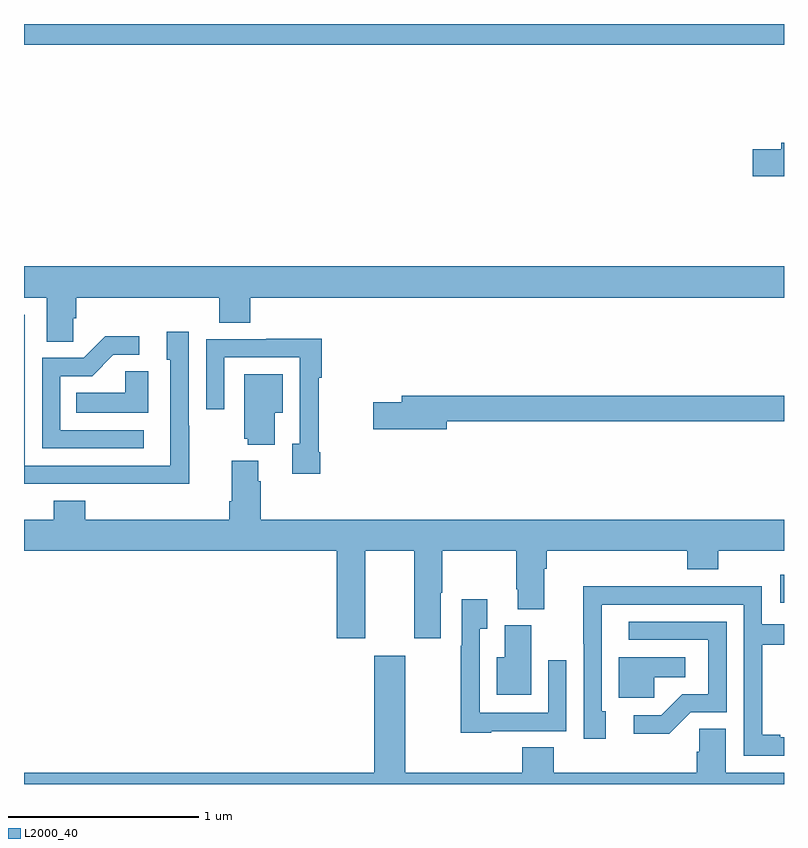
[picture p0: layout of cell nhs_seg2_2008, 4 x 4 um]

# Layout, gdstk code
import gdstk
lib = gdstk.Library(unit=1e-6, precision=1e-09)
def R(c, l, rs):  # rectangles x0, y0, x1, y1
    for r in rs: c.add(gdstk.rectangle(r[:2], r[2:], *l))
def P(c, l, *ps):  # polygons
    for p in ps: c.add(gdstk.Polygon(p, *l))
L2000_40 = (2000, 40)

nhs_seg2_2008 = lib.new_cell('nhs_seg2_2008')
R(nhs_seg2_2008, L2000_40, [(220.98,588.753,221,588.901), (217,591.692,221,591.8)])
P(nhs_seg2_2008, L2000_40, [(221,591.176),(220.985,591.176),(220.985,591.14),(220.836,591.14),(220.836,590.998),(221,590.998)],
  [(217.26,590.251),(217.274,590.251),(217.274,590.36),(218.027,590.36),(218.027,590.227),(218.192,590.227),(218.192,590.36),(221,590.36),(221,590.524),(217,590.524),(217,590.36),(217.121,590.36),(217.121,590.128),(217.26,590.128)],
  [(217.869,589.685),(217.866,589.685),(217.866,590.179),(217.751,590.179),(217.751,590.034),(217.77,590.034),(217.77,589.476),(217.005,589.476),(217.005,590.271),(217,590.271),(217,589.38),(217.405,589.38),(217.405,589.379),(217.869,589.379)],
  [(217.63,589.662),(217.191,589.662),(217.191,589.947),(217.36,589.947),(217.471,590.058),(217.606,590.058),(217.606,590.156),(217.427,590.156),(217.314,590.043),(217.095,590.043),(217.095,589.566),(217.63,589.566)],
  [(218.56,589.546),(218.552,589.546),(218.552,589.939),(218.567,589.939),(218.567,590.144),(218.275,590.144),(218.275,590.142),(217.959,590.142),(217.959,589.773),(218.055,589.773),(218.055,590.046),(218.451,590.046),(218.451,589.59),(218.411,589.59),(218.411,589.434),(218.56,589.434)],
  [(217.654,589.973),(217.533,589.973),(217.533,589.858),(217.276,589.858),(217.276,589.754),(217.654,589.754)],
  [(218.32,589.754),(218.362,589.754),(218.362,589.957),(218.159,589.957),(218.159,589.617),(218.177,589.617),(218.177,589.586),(218.32,589.586)],
  [(219.226,589.708),(221,589.708),(221,589.844),(218.987,589.844),(218.987,589.808),(218.838,589.808),(218.838,589.666),(219.226,589.666)],
  [(218.797,589.028),(219.053,589.028),(219.053,588.567),(219.193,588.567),(219.193,588.806),(219.201,588.806),(219.201,589.028),(219.592,589.028),(219.592,588.826),(219.599,588.826),(219.599,588.721),(219.739,588.721),(219.739,588.932),(219.752,588.932),(219.752,589.028),(220.49,589.028),(220.49,588.929),(220.655,588.929),(220.655,589.028),(221,589.028),(221,589.192),(218.246,589.192),(218.246,589.394),(218.233,589.394),(218.233,589.501),(218.093,589.501),(218.093,589.288),(218.081,589.288),(218.081,589.192),(217.322,589.192),(217.322,589.291),(217.157,589.291),(217.157,589.192),(217,589.192),(217,589.028),(218.645,589.028),(218.645,588.567),(218.797,588.567)],
  [(221,588.045),(220.981,588.045),(220.981,588.06),(220.885,588.06),(220.885,588.534),(221,588.534),(221,588.642),(220.884,588.642),(220.884,588.84),(220.406,588.84),(220.406,588.842),(219.944,588.842),(219.944,588.538),(219.945,588.538),(219.945,588.039),(220.063,588.039),(220.063,588.183),(220.041,588.183),(220.041,588.744),(220.788,588.744),(220.788,587.949),(221,587.949)],
  [(219.459,588.078),(219.855,588.078),(219.855,588.451),(219.759,588.451),(219.759,588.174),(219.399,588.174),(219.399,588.616),(219.439,588.616),(219.439,588.772),(219.303,588.772),(219.303,588.527),(219.298,588.527),(219.298,588.071),(219.459,588.071)],
  [(220.509,588.177),(220.698,588.177),(220.698,588.654),(220.182,588.654),(220.182,588.558),(220.602,588.558),(220.602,588.273),(220.464,588.273),(220.353,588.162),(220.209,588.162),(220.209,588.065),(220.396,588.065)],
  [(219.67,588.636),(219.53,588.636),(219.53,588.466),(219.488,588.466),(219.488,588.269),(219.67,588.269)],
  [(221,587.86),(220.693,587.86),(220.693,588.092),(220.554,588.092),(220.554,587.969),(220.541,587.969),(220.541,587.86),(219.788,587.86),(219.788,587.993),(219.623,587.993),(219.623,587.86),(219.007,587.86),(219.007,588.475),(218.843,588.475),(218.843,587.86),(217,587.86),(217,587.8),(221,587.8)],
  [(220.317,588.362),(220.48,588.362),(220.48,588.466),(220.13,588.466),(220.13,588.255),(220.317,588.255)])

lib.write_gds('nhs_seg2_2008.gds')
